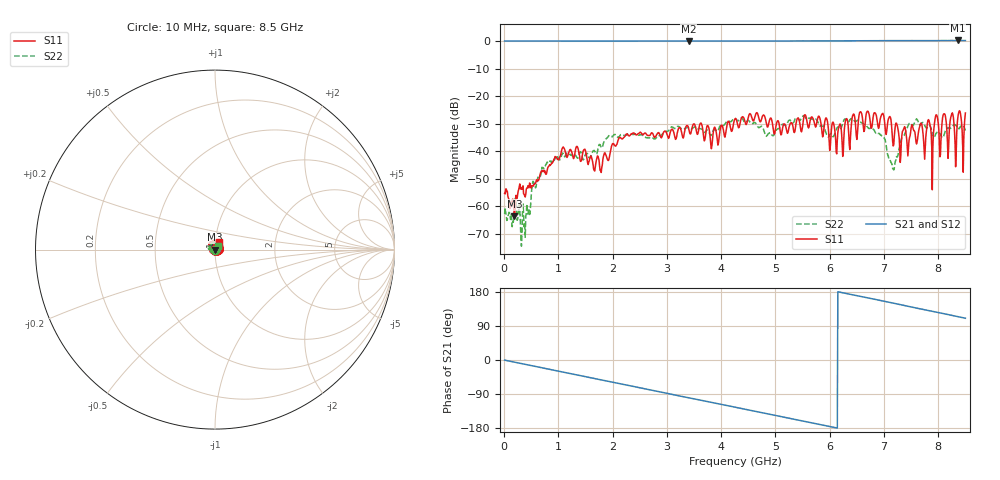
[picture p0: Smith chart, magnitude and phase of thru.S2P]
!Agilent Technologies,N3383A,US41480161,A.04.87.01
!Agilent N3383A: A.04.87.01
!Date: Monday, September 24, 2018 16:44:19
!Correction: S11(Full 2 Port SOLT,1,2) S21(Full 2 Port SOLT,1,2) S12(Full 2 Port SOLT,1,2) S22(Full 2 Port SOLT,1,2)
!S2P File: Measurements: S11, S21, S12, S22:
!Part No: SF-SF50+
!Part Description: SMA-F to SMA-F Adaptor
# Hz S  dB  R 50
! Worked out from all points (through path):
!   850 points, 10 MHz to 8.5 GHz, reference 50 ohm
!   highest |S21| = 0.20 dB at 8.36 GHz (marker M1); lowest = 0.0 dB at 3.4 GHz (marker M2)
!   group delay of S21, straight-line fit = 81.4 ps
!   lowest |S11| = -63.7 dB at 190 MHz (marker M3), VSWR 1.00, Z = 50 - j0.0583 ohm
!   |S11| at or under -10 dB: start of sweep to end of sweep
!   |S22| runs from -74.6 to -27.1 dB; largest |S21 - S12| = 0.0061
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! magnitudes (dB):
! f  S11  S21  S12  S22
! 10 MHz  -55.4  0.0  0.0  -62.9
! 190 MHz  -63.7  0.0  0.0  -63.7
! 350 MHz  -52.6  0.0  0.0  -59.2
! 540 MHz  -52.7  0.0  0.0  -51.1
! 810 MHz  -45.8  0.0  0.0  -43.7
! 1.09 GHz  -38.5  0.0  0.0  -41.2
! 1.43 GHz  -43.3  0.0  0.0  -41.1
! 1.78 GHz  -46.9  0.0  0.0  -38.2
! 2.14 GHz  -35.1  0.0  0.0  -34.3
! 2.84 GHz  -33.3  0.0  0.0  -34.3
! 3.4 GHz  -31.7  0.0  -0.1  -31.6
! 4.26 GHz  -28.2  0.0  0.0  -28.2
! 4.85 GHz  -31.2  0.0  0.0  -34.3
! 5.67 GHz  -27.6  0.0  0.0  -28.5
! 6.13 GHz  -41.0  0.1  0.0  -31.8
! 6.55 GHz  -26.1  0.1  0.1  -29.2
! 6.98 GHz  -26.3  0.1  0.1  -34.7
! 7.09 GHz  -27.9  0.1  0.1  -43.0
! 7.18 GHz  -37.7  0.1  0.1  -46.9
! 7.59 GHz  -36.7  0.1  0.1  -28.6
! 8.36 GHz  -27.9  0.2  0.2  -31.9
! 8.5 GHz  -26.2  0.2  0.1  -32.5
